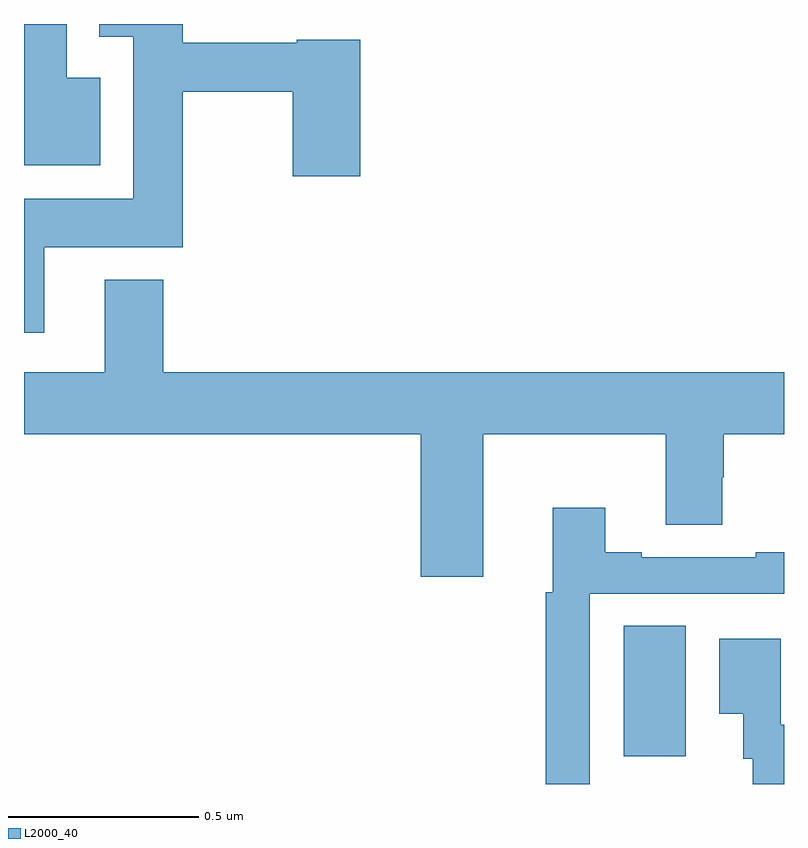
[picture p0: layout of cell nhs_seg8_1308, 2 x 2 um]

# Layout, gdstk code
import gdstk
lib = gdstk.Library(unit=1e-6, precision=1e-09)
def R(c, l, rs):  # rectangles x0, y0, x1, y1
    for r in rs: c.add(gdstk.rectangle(r[:2], r[2:], *l))
def P(c, l, *ps):  # polygons
    for p in ps: c.add(gdstk.Polygon(p, *l))
L2000_40 = (2000, 40)

nhs_seg8_1308 = lib.new_cell('nhs_seg8_1308')
R(nhs_seg8_1308, L2000_40, [(129.578,1128.973,129.742,1129.316)])
P(nhs_seg8_1308, L2000_40, [(128.2,1130.758),(128.113,1130.758),(128.113,1130.9),(128,1130.9),(128,1130.528),(128.2,1130.528)],
  [(128.053,1130.312),(128.418,1130.312),(128.418,1130.722),(128.707,1130.722),(128.707,1130.499),(128.885,1130.499),(128.885,1130.859),(128.718,1130.859),(128.718,1130.851),(128.418,1130.851),(128.418,1130.9),(128.198,1130.9),(128.198,1130.867),(128.288,1130.867),(128.288,1130.44),(128,1130.44),(128,1130.088),(128.053,1130.088)],
  [(129.208,1129.82),(129.689,1129.82),(129.689,1129.582),(129.837,1129.582),(129.837,1129.707),(129.842,1129.707),(129.842,1129.82),(130,1129.82),(130,1129.984),(128.366,1129.984),(128.366,1130.227),(128.213,1130.227),(128.213,1129.984),(128,1129.984),(128,1129.82),(129.044,1129.82),(129.044,1129.446),(129.208,1129.446)],
  [(129.489,1129.401),(130,1129.401),(130,1129.51),(129.925,1129.51),(129.925,1129.497),(129.625,1129.497),(129.625,1129.51),(129.529,1129.51),(129.529,1129.627),(129.392,1129.627),(129.392,1129.404),(129.373,1129.404),(129.373,1128.9),(129.489,1128.9)],
  [(130,1129.056),(129.991,1129.056),(129.991,1129.282),(129.83,1129.282),(129.83,1129.085),(129.893,1129.085),(129.893,1128.966),(129.918,1128.966),(129.918,1128.9),(130,1128.9)])

lib.write_gds('nhs_seg8_1308.gds')
